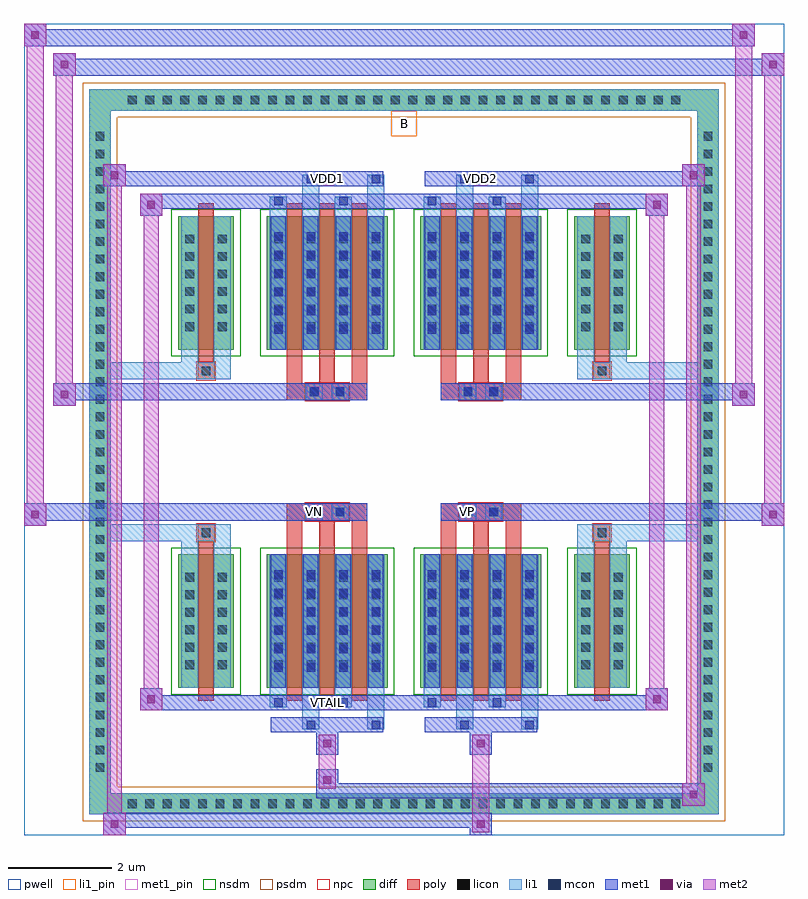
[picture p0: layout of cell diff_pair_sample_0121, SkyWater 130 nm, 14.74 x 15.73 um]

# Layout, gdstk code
import gdstk
lib = gdstk.Library(unit=1e-6, precision=5e-09)
def R(c, l, rs):  # rectangles x0, y0, x1, y1
    for r in rs: c.add(gdstk.rectangle(r[:2], r[2:], *l))
def A(c, l, x, y, w, h, nx, ny, dx, dy):  # array of equal rectangles
    R(c, l, [(x+i*dx, y+j*dy, x+i*dx+w, y+j*dy+h) for i in range(nx) for j in range(ny)])
def P(c, l, *ps):  # polygons
    for p in ps: c.add(gdstk.Polygon(p, *l))
pwell = (64, 44)
diff = (65, 20)
poly = (66, 20)
licon = (66, 44)
li1_pin = (67, 16)
li1 = (67, 20)
mcon = (67, 44)
met1_pin = (68, 16)
met1 = (68, 20)
via = (68, 44)
met2 = (69, 20)
nsdm = (93, 44)
psdm = (94, 20)
npc = (95, 20)

diff_pair_sample_0121 = lib.new_cell('diff_pair_sample_0121')
R(diff_pair_sample_0121, pwell, [(-7.37,-7.43,7.37,8.3), (-4.69,-5.62,-0.01,-0.8), (0.01,-5.62,4.69,-0.8), (-4.69,0.8,-0.01,5.62), (0.01,0.8,4.69,5.62)])
A(diff_pair_sample_0121, diff, -5.475, -7.03, 0.41, 0.41, 32, 2, 0.34, 13.65)
A(diff_pair_sample_0121, diff, -6.1, -6.325, 0.41, 0.41, 1, 37, 0, 0.34)
A(diff_pair_sample_0121, diff, 5.69, -6.325, 0.41, 0.41, 1, 37, 0, 0.34)
R(diff_pair_sample_0121, diff, [(-5.475,-7.03,5.475,-6.62), (-6.1,-6.325,-5.69,6.325), (5.69,-6.325,6.1,6.325), (-4.38,-4.575,-3.3,-1.985), (-2.66,-4.575,-0.32,-1.985), (0.32,-4.575,2.66,-1.985), (3.3,-4.575,4.38,-1.985), (-4.38,1.985,-3.3,4.575), (-2.66,1.985,-0.32,4.575), (0.32,1.985,2.66,4.575), (3.3,1.985,4.38,4.575), (-5.475,6.62,5.475,7.03)])
P(diff_pair_sample_0121, diff, [(6.1,7.03),(-6.1,7.03),(-6.1,-6.62),(-5.69,-6.62),(-5.69,6.62),(5.69,6.62),(5.69,-6.62),(-5.69,-6.62),(-6.1,-6.62),(-6.1,-7.03),(6.1,-7.03)])
A(diff_pair_sample_0121, poly, -2.27, -4.825, 0.3, 3.09, 3, 2, 0.63, 6.56)
A(diff_pair_sample_0121, poly, 0.71, -4.825, 0.3, 3.09, 3, 2, 0.63, 6.56)
A(diff_pair_sample_0121, poly, -2.27, -1.735, 0.3, 0.405, 3, 2, 0.63, 3.065)
A(diff_pair_sample_0121, poly, 0.71, -1.735, 0.3, 0.405, 3, 2, 0.63, 3.065)
R(diff_pair_sample_0121, poly, [(-3.99,-4.825,-3.69,-1.735), (3.69,-4.825,3.99,-1.735), (-4.005,-1.735,-3.675,-1.405), (-4.005,-1.735,-3.675,-1.405), (3.675,-1.735,4.005,-1.405), (3.675,-1.735,4.005,-1.405), (-2.27,-1.33,-0.71,-1), (-1.905,-1.33,-1.575,-1), (-1.405,-1.33,-1.075,-1), (0.71,-1.33,2.27,-1), (1.075,-1.33,1.405,-1), (1.575,-1.33,1.905,-1), (-2.27,1,-0.71,1.33), (-1.905,1,-1.575,1.33), (-1.405,1,-1.075,1.33), (0.71,1,2.27,1.33), (1.075,1,1.405,1.33), (1.575,1,1.905,1.33), (-4.005,1.405,-3.675,1.735), (-4.005,1.405,-3.675,1.735), (3.675,1.405,4.005,1.735), (3.675,1.405,4.005,1.735), (-3.99,1.735,-3.69,4.825), (3.69,1.735,3.99,4.825)])
A(diff_pair_sample_0121, licon, -5.355, -6.91, 0.17, 0.17, 32, 2, 0.34, 13.65)
A(diff_pair_sample_0121, licon, -5.98, -6.205, 0.17, 0.17, 1, 37, 0, 0.34)
A(diff_pair_sample_0121, licon, 5.81, -6.205, 0.17, 0.17, 1, 37, 0, 0.34)
A(diff_pair_sample_0121, licon, -4.24, -4.215, 0.17, 0.17, 1, 6, 0, 0.34)
A(diff_pair_sample_0121, licon, -3.61, -4.215, 0.17, 0.17, 1, 6, 0, 0.34)
A(diff_pair_sample_0121, licon, -2.52, -4.215, 0.17, 0.17, 4, 6, 0.63, 0.34)
A(diff_pair_sample_0121, licon, 0.46, -4.215, 0.17, 0.17, 4, 6, 0.63, 0.34)
A(diff_pair_sample_0121, licon, 3.44, -4.215, 0.17, 0.17, 1, 6, 0, 0.34)
A(diff_pair_sample_0121, licon, 4.07, -4.215, 0.17, 0.17, 1, 6, 0, 0.34)
A(diff_pair_sample_0121, licon, -4.24, 2.345, 0.17, 0.17, 1, 6, 0, 0.34)
A(diff_pair_sample_0121, licon, -3.61, 2.345, 0.17, 0.17, 1, 6, 0, 0.34)
A(diff_pair_sample_0121, licon, -2.52, 2.345, 0.17, 0.17, 4, 6, 0.63, 0.34)
A(diff_pair_sample_0121, licon, 0.46, 2.345, 0.17, 0.17, 4, 6, 0.63, 0.34)
A(diff_pair_sample_0121, licon, 3.44, 2.345, 0.17, 0.17, 1, 6, 0, 0.34)
A(diff_pair_sample_0121, licon, 4.07, 2.345, 0.17, 0.17, 1, 6, 0, 0.34)
R(diff_pair_sample_0121, licon, [(-3.925,-1.655,-3.755,-1.485), (3.755,-1.655,3.925,-1.485), (-1.825,-1.25,-1.655,-1.08), (-1.325,-1.25,-1.155,-1.08), (1.155,-1.25,1.325,-1.08), (1.655,-1.25,1.825,-1.08), (-1.825,1.08,-1.655,1.25), (-1.325,1.08,-1.155,1.25), (1.155,1.08,1.325,1.25), (1.655,1.08,1.825,1.25), (-3.925,1.485,-3.755,1.655), (3.755,1.485,3.925,1.655)])
R(diff_pair_sample_0121, li1_pin, [(-0.25,6.12,0.25,6.62)])
A(diff_pair_sample_0121, li1, -5.435, -6.99, 0.33, 0.33, 32, 2, 0.34, 13.65)
A(diff_pair_sample_0121, li1, -6.06, -6.285, 0.33, 0.33, 1, 37, 0, 0.34)
A(diff_pair_sample_0121, li1, 5.73, -6.285, 0.33, 0.33, 1, 37, 0, 0.34)
A(diff_pair_sample_0121, li1, -2.6, -4.575, 0.33, 2.59, 4, 2, 0.63, 6.56)
A(diff_pair_sample_0121, li1, 0.38, -4.575, 0.33, 2.59, 4, 2, 0.63, 6.56)
A(diff_pair_sample_0121, li1, -4.32, -4.295, 0.33, 0.33, 1, 6, 0, 0.34)
A(diff_pair_sample_0121, li1, -3.69, -4.295, 0.33, 0.33, 1, 6, 0, 0.34)
A(diff_pair_sample_0121, li1, -2.6, -4.295, 0.33, 0.33, 4, 6, 0.63, 0.34)
A(diff_pair_sample_0121, li1, 0.38, -4.295, 0.33, 0.33, 4, 6, 0.63, 0.34)
A(diff_pair_sample_0121, li1, 3.36, -4.295, 0.33, 0.33, 1, 6, 0, 0.34)
A(diff_pair_sample_0121, li1, 3.99, -4.295, 0.33, 0.33, 1, 6, 0, 0.34)
A(diff_pair_sample_0121, li1, -2.52, -4.265, 0.17, 0.17, 4, 6, 0.63, 0.36)
A(diff_pair_sample_0121, li1, -2.52, -4.265, 0.17, 1.97, 4, 2, 0.63, 6.56)
A(diff_pair_sample_0121, li1, 0.46, -4.265, 0.17, 0.17, 4, 6, 0.63, 0.36)
A(diff_pair_sample_0121, li1, 0.46, -4.265, 0.17, 1.97, 4, 2, 0.63, 6.56)
A(diff_pair_sample_0121, li1, -4.32, 2.265, 0.33, 0.33, 1, 6, 0, 0.34)
A(diff_pair_sample_0121, li1, -3.69, 2.265, 0.33, 0.33, 1, 6, 0, 0.34)
A(diff_pair_sample_0121, li1, -2.6, 2.265, 0.33, 0.33, 4, 6, 0.63, 0.34)
A(diff_pair_sample_0121, li1, 0.38, 2.265, 0.33, 0.33, 4, 6, 0.63, 0.34)
A(diff_pair_sample_0121, li1, 3.36, 2.265, 0.33, 0.33, 1, 6, 0, 0.34)
A(diff_pair_sample_0121, li1, 3.99, 2.265, 0.33, 0.33, 1, 6, 0, 0.34)
A(diff_pair_sample_0121, li1, -2.52, 2.295, 0.17, 0.17, 4, 6, 0.63, 0.36)
A(diff_pair_sample_0121, li1, 0.46, 2.295, 0.17, 0.17, 4, 6, 0.63, 0.36)
R(diff_pair_sample_0121, li1, [(-6.1,-7.03,-5.69,-6.62), (-6.1,-7.03,-5.69,-6.62), (-5.69,-7.03,5.69,-6.62), (5.69,-7.03,6.1,-6.62), (5.69,-7.03,6.1,-6.62), (-6.1,-6.62,-5.69,6.62), (5.69,-6.62,6.1,6.62), (-1.97,-5.38,-1.64,-4.575), (-1.89,-5.38,-1.72,-5.21), (-0.71,-5.38,-0.38,-4.575), (-0.63,-5.38,-0.46,-5.21), (1.01,-5.38,1.34,-4.575), (1.09,-5.38,1.26,-5.21), (2.27,-5.38,2.6,-4.575), (2.35,-5.38,2.52,-5.21), (-2.6,-4.95,-2.27,-4.575), (-2.52,-4.95,-2.35,-4.78), (-1.34,-4.95,-1.01,-4.575), (-1.26,-4.95,-1.09,-4.78), (0.38,-4.95,0.71,-4.575), (0.46,-4.95,0.63,-4.78), (1.64,-4.95,1.97,-4.575), (1.72,-4.95,1.89,-4.78), (-4.32,-4.575,-3.99,-1.985), (-3.69,-4.575,-3.36,-1.985), (3.36,-4.575,3.69,-1.985), (3.99,-4.575,4.32,-1.985), (-4.32,-1.985,-3.99,-1.405), (-3.69,-1.985,-3.36,-1.405), (3.36,-1.985,3.69,-1.405), (3.99,-1.985,4.32,-1.405), (-6.1,-1.735,-4.005,-1.405), (-4.32,-1.735,-4.005,-1.405), (-4.005,-1.735,-3.675,-1.405), (-3.675,-1.735,-3.36,-1.405), (3.36,-1.735,3.675,-1.405), (3.675,-1.735,4.005,-1.405), (3.675,-1.735,6.1,-1.405), (4.005,-1.735,4.32,-1.405), (-1.905,-1.33,-1.575,-1), (-1.405,-1.33,-1.075,-1), (1.075,-1.33,1.405,-1), (1.575,-1.33,1.905,-1), (-1.905,1,-1.575,1.33), (-1.405,1,-1.075,1.33), (1.075,1,1.405,1.33), (1.575,1,1.905,1.33), (-6.1,1.405,-4.005,1.735), (-4.32,1.405,-4.005,1.735), (-4.32,1.405,-3.99,1.985), (-4.005,1.405,-3.675,1.735), (-3.69,1.405,-3.36,1.985), (-3.675,1.405,-3.36,1.735), (3.36,1.405,3.675,1.735), (3.36,1.405,3.69,1.985), (3.675,1.405,4.005,1.735), (3.675,1.405,6.1,1.735), (3.99,1.405,4.32,1.985), (4.005,1.405,4.32,1.735), (-4.32,1.985,-3.99,4.575), (-3.69,1.985,-3.36,4.575), (3.36,1.985,3.69,4.575), (3.99,1.985,4.32,4.575), (-2.6,4.575,-2.27,4.95), (-1.97,4.575,-1.64,5.38), (-1.34,4.575,-1.01,4.95), (-0.71,4.575,-0.38,5.38), (0.38,4.575,0.71,4.95), (1.01,4.575,1.34,5.38), (1.64,4.575,1.97,4.95), (2.27,4.575,2.6,5.38), (-2.52,4.78,-2.35,4.95), (-1.26,4.78,-1.09,4.95), (0.46,4.78,0.63,4.95), (1.72,4.78,1.89,4.95), (-1.89,5.21,-1.72,5.38), (-0.63,5.21,-0.46,5.38), (1.09,5.21,1.26,5.38), (2.35,5.21,2.52,5.38), (-6.1,6.62,-5.69,7.03), (-6.1,6.62,-5.69,7.03), (-5.69,6.62,5.69,7.03), (5.69,6.62,6.1,7.03), (5.69,6.62,6.1,7.03)])
A(diff_pair_sample_0121, mcon, -2.52, -4.265, 0.17, 0.17, 4, 6, 0.63, 0.36)
A(diff_pair_sample_0121, mcon, 0.46, -4.265, 0.17, 0.17, 4, 6, 0.63, 0.36)
A(diff_pair_sample_0121, mcon, -2.52, 2.295, 0.17, 0.17, 4, 6, 0.63, 0.36)
A(diff_pair_sample_0121, mcon, 0.46, 2.295, 0.17, 0.17, 4, 6, 0.63, 0.36)
R(diff_pair_sample_0121, mcon, [(-1.89,-5.38,-1.72,-5.21), (-0.63,-5.38,-0.46,-5.21), (1.09,-5.38,1.26,-5.21), (2.35,-5.38,2.52,-5.21), (-2.52,-4.95,-2.35,-4.78), (-1.26,-4.95,-1.09,-4.78), (0.46,-4.95,0.63,-4.78), (1.72,-4.95,1.89,-4.78), (-1.825,-1.25,-1.655,-1.08), (-1.325,-1.25,-1.155,-1.08), (1.155,-1.25,1.325,-1.08), (1.655,-1.25,1.825,-1.08), (-1.825,1.08,-1.655,1.25), (-1.325,1.08,-1.155,1.25), (1.155,1.08,1.325,1.25), (1.655,1.08,1.825,1.25), (-2.52,4.78,-2.35,4.95), (-1.26,4.78,-1.09,4.95), (0.46,4.78,0.63,4.95), (1.72,4.78,1.89,4.95), (-1.89,5.21,-1.72,5.38), (-0.63,5.21,-0.46,5.38), (1.09,5.21,1.26,5.38), (2.35,5.21,2.52,5.38)])
R(diff_pair_sample_0121, met1_pin, [(-1.625,-4.99,-1.355,-4.72), (-1.875,-1.29,-1.605,-1.02), (1.105,-1.29,1.375,-1.02), (-1.625,5.17,-1.355,5.44), (1.355,5.17,1.625,5.44)])
A(diff_pair_sample_0121, met1, -2.58, -4.575, 0.29, 2.59, 4, 2, 0.63, 6.56)
A(diff_pair_sample_0121, met1, 0.4, -4.575, 0.29, 2.59, 4, 2, 0.63, 6.56)
A(diff_pair_sample_0121, met1, -2.58, -4.325, 0.29, 0.29, 4, 6, 0.63, 0.36)
A(diff_pair_sample_0121, met1, 0.4, -4.325, 0.29, 0.29, 4, 6, 0.63, 0.36)
A(diff_pair_sample_0121, met1, -2.58, 2.235, 0.29, 0.29, 4, 6, 0.63, 0.36)
A(diff_pair_sample_0121, met1, 0.4, 2.235, 0.29, 0.29, 4, 6, 0.63, 0.36)
R(diff_pair_sample_0121, met1, [(-5.83,-7.43,-5.4,-7), (1.275,-7.43,1.705,-7), (-5.83,-7.29,1.705,-7), (5.4,-6.86,5.83,-6.43), (-1.705,-6.72,5.83,-6.43), (-1.705,-6.58,-1.275,-6.15), (-1.705,-5.87,-1.275,-5.44), (1.275,-5.87,1.705,-5.44), (-2.58,-5.44,-0.4,-5.15), (-1.95,-5.44,-1.66,-5.15), (-0.69,-5.44,-0.4,-5.15), (0.4,-5.44,2.58,-5.15), (1.03,-5.44,1.32,-5.15), (2.29,-5.44,2.58,-5.15), (-5.12,-5.01,-4.69,-4.58), (-5.12,-5.01,-2.58,-4.72), (-2.58,-5.01,-2.29,-4.72), (-2.58,-5.01,-0.4,-4.72), (-1.32,-5.01,-1.03,-4.72), (-0.4,-5.01,0.4,-4.72), (0.4,-5.01,0.69,-4.72), (0.4,-5.01,2.58,-4.72), (1.66,-5.01,1.95,-4.72), (2.58,-5.01,5.12,-4.72), (4.69,-5.01,5.12,-4.58), (-7.37,-1.43,-6.94,-1), (6.94,-1.43,7.37,-1), (-7.37,-1.33,-0.71,-1), (-2.27,-1.33,-0.71,-1), (0.71,-1.33,2.27,-1), (0.71,-1.33,7.37,-1), (-1.885,-1.31,-1.595,-1.02), (-1.385,-1.31,-1.095,-1.02), (1.095,-1.31,1.385,-1.02), (1.595,-1.31,1.885,-1.02), (-6.8,0.9,-6.37,1.33), (6.37,0.9,6.8,1.33), (-6.8,1,-2.27,1.33), (-2.27,1,-0.71,1.33), (0.71,1,2.27,1.33), (2.27,1,6.8,1.33), (-1.885,1.02,-1.595,1.31), (-1.385,1.02,-1.095,1.31), (1.095,1.02,1.385,1.31), (1.595,1.02,1.885,1.31), (-5.12,4.58,-4.69,5.01), (4.69,4.58,5.12,5.01), (-5.12,4.72,-2.58,5.01), (-2.58,4.72,-2.29,5.01), (-2.58,4.72,-0.4,5.01), (-1.32,4.72,-1.03,5.01), (-0.4,4.72,0.4,5.01), (0.4,4.72,0.69,5.01), (0.4,4.72,2.58,5.01), (1.66,4.72,1.95,5.01), (2.58,4.72,5.12,5.01), (-5.83,5.15,-5.4,5.58), (-5.83,5.15,-2.58,5.44), (-2.58,5.15,-0.4,5.44), (-1.95,5.15,-1.66,5.44), (-0.69,5.15,-0.4,5.44), (0.4,5.15,2.58,5.44), (1.03,5.15,1.32,5.44), (2.29,5.15,2.58,5.44), (2.58,5.15,5.83,5.44), (5.4,5.15,5.83,5.58), (-6.8,7.3,-6.37,7.73), (-6.8,7.3,-4.69,7.63), (-4.69,7.3,4.69,7.63), (4.69,7.3,7.37,7.63), (6.94,7.3,7.37,7.73), (-7.37,7.87,-6.94,8.3), (-7.37,7.87,-4.69,8.2), (-4.69,7.87,4.69,8.2), (4.69,7.87,6.8,8.2), (6.37,7.87,6.8,8.3)])
R(diff_pair_sample_0121, via, [(-5.69,-7.29,-5.54,-7.14), (1.415,-7.29,1.565,-7.14), (5.54,-6.72,5.69,-6.57), (-1.565,-6.44,-1.415,-6.29), (-1.565,-5.73,-1.415,-5.58), (1.415,-5.73,1.565,-5.58), (-4.98,-4.87,-4.83,-4.72), (4.83,-4.87,4.98,-4.72), (-7.23,-1.29,-7.08,-1.14), (7.08,-1.29,7.23,-1.14), (-6.66,1.04,-6.51,1.19), (6.51,1.04,6.66,1.19), (-4.98,4.72,-4.83,4.87), (4.83,4.72,4.98,4.87), (-5.69,5.29,-5.54,5.44), (5.54,5.29,5.69,5.44), (-6.66,7.44,-6.51,7.59), (7.08,7.44,7.23,7.59), (-7.23,8.01,-7.08,8.16), (6.51,8.01,6.66,8.16)])
R(diff_pair_sample_0121, met2, [(-5.83,-7.43,-5.4,-7), (-5.76,-7.43,-5.47,5.58), (-5.47,-7.43,-5.4,-7), (-5.78,-7.38,-5.45,-7.05), (1.325,-7.38,1.655,-7.05), (1.325,-7.05,1.655,-5.82), (5.4,-6.86,5.83,-6.43), (5.47,-6.86,5.76,5.58), (5.76,-6.86,5.83,-6.43), (5.45,-6.81,5.78,-6.48), (-1.655,-6.53,-1.325,-6.2), (-1.655,-6.2,-1.325,-5.82), (-1.655,-5.82,-1.325,-5.49), (1.325,-5.82,1.655,-5.49), (-5.12,-5.01,-4.69,-4.58), (-5.05,-5.01,-4.76,5.01), (-4.76,-5.01,-4.69,-4.58), (4.69,-5.01,5.12,-4.58), (4.76,-5.01,5.05,5.01), (5.05,-5.01,5.12,-4.58), (-5.07,-4.96,-4.74,-4.63), (4.74,-4.96,5.07,-4.63), (-7.37,-1.43,-6.94,-1), (-7.32,-1.43,-6.99,8.3), (-6.99,-1.43,-6.94,-1), (6.94,-1.43,7.37,-1), (6.99,-1.43,7.32,7.73), (7.32,-1.43,7.37,-1), (-7.32,-1.38,-6.99,-1.05), (6.99,-1.38,7.32,-1.05), (-6.8,0.9,-6.37,1.33), (-6.75,0.9,-6.42,7.73), (-6.42,0.9,-6.37,1.33), (6.37,0.9,6.8,1.33), (6.42,0.9,6.75,8.3), (6.75,0.9,6.8,1.33), (-6.75,0.95,-6.42,1.28), (6.42,0.95,6.75,1.28), (-5.12,4.58,-4.69,5.01), (-4.76,4.58,-4.69,5.01), (4.69,4.58,5.12,5.01), (5.05,4.58,5.12,5.01), (-5.07,4.63,-4.74,4.96), (4.74,4.63,5.07,4.96), (-5.83,5.15,-5.4,5.58), (-5.47,5.15,-5.4,5.58), (5.4,5.15,5.83,5.58), (5.76,5.15,5.83,5.58), (-5.78,5.2,-5.45,5.53), (5.45,5.2,5.78,5.53), (-6.8,7.3,-6.37,7.73), (-6.42,7.3,-6.37,7.73), (6.94,7.3,7.37,7.73), (7.32,7.3,7.37,7.73), (-6.75,7.35,-6.42,7.68), (6.99,7.35,7.32,7.68), (-7.37,7.87,-6.94,8.3), (-6.99,7.87,-6.94,8.3), (6.37,7.87,6.8,8.3), (6.75,7.87,6.8,8.3), (-7.32,7.92,-6.99,8.25), (6.42,7.92,6.75,8.25)])
R(diff_pair_sample_0121, nsdm, [(-4.51,-4.705,-3.17,-1.855), (-2.79,-4.705,-0.19,-1.855), (0.19,-4.705,2.79,-1.855), (3.17,-4.705,4.51,-1.855), (-4.51,1.855,-3.17,4.705), (-2.79,1.855,-0.19,4.705), (0.19,1.855,2.79,4.705), (3.17,1.855,4.51,4.705)])
P(diff_pair_sample_0121, psdm, [(6.23,7.16),(-6.23,7.16),(-6.23,-6.49),(-5.56,-6.49),(-5.56,6.49),(5.56,6.49),(5.56,-6.49),(-5.56,-6.49),(-6.23,-6.49),(-6.23,-7.16),(6.23,-7.16)])
R(diff_pair_sample_0121, npc, [(-4.025,-1.755,-3.655,-1.385), (3.655,-1.755,4.025,-1.385), (-1.925,-1.35,-1.555,-0.98), (-1.925,-1.35,-1.055,-0.98), (-1.925,-1.35,-1.055,-0.98), (-1.425,-1.35,-1.055,-0.98), (1.055,-1.35,1.425,-0.98), (1.055,-1.35,1.925,-0.98), (1.055,-1.35,1.925,-0.98), (1.555,-1.35,1.925,-0.98), (-1.925,0.98,-1.555,1.35), (-1.925,0.98,-1.055,1.35), (-1.925,0.98,-1.055,1.35), (-1.425,0.98,-1.055,1.35), (1.055,0.98,1.425,1.35), (1.055,0.98,1.925,1.35), (1.055,0.98,1.925,1.35), (1.555,0.98,1.925,1.35), (-4.025,1.385,-3.655,1.755), (3.655,1.385,4.025,1.755)])
diff_pair_sample_0121.add(gdstk.Label('VTAIL', (-1.49,-4.855), layer=68, texttype=5))
diff_pair_sample_0121.add(gdstk.Label('VN', (-1.74,-1.155), layer=68, texttype=5))
diff_pair_sample_0121.add(gdstk.Label('VP', (1.24,-1.155), layer=68, texttype=5))
diff_pair_sample_0121.add(gdstk.Label('B', (0,6.37), layer=67, texttype=5))
diff_pair_sample_0121.add(gdstk.Label('VDD2', (1.49,5.305), layer=68, texttype=5))
diff_pair_sample_0121.add(gdstk.Label('VDD1', (-1.49,5.305), layer=68, texttype=5))

lib.write_gds('diff_pair_sample_0121.gds')
